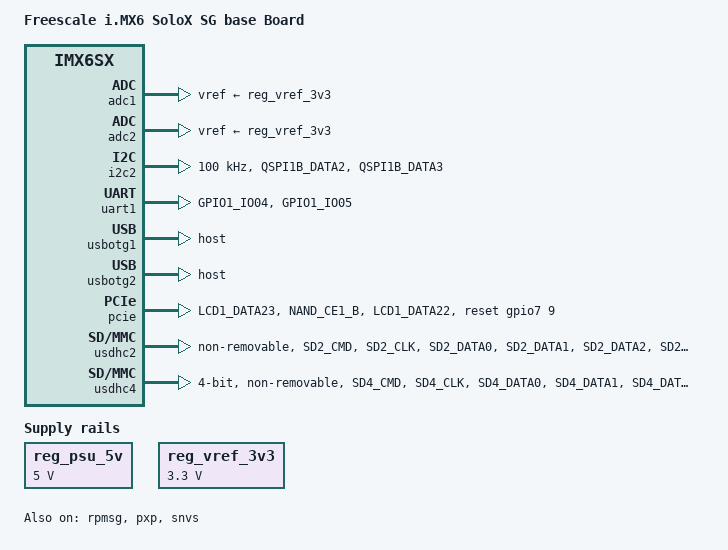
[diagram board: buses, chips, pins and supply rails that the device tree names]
/*
 * Copyright (C) 2014 Freescale Semiconductor, Inc.
 *
 * This program is free software; you can redistribute it and/or modify
 * it under the terms of the GNU General Public License version 2 as
 * published by the Free Software Foundation.
 */

/dts-v1/;

#include <dt-bindings/gpio/gpio.h>
#include <dt-bindings/input/input.h>
#include "imx6sx-better_FCT.dtsi"

/ {
	model = "Freescale i.MX6 SoloX SG base Board";
	compatible = "fsl,imx6sx-sg", "fsl,imx6sx";

	aliases
	{
    };

	chosen 
	{
		stdout-path = &uart1;
	};

	memory 
	{
		linux,usable-memory = <0x80000000 0x20000000>;
	};
	
	pxp_v4l2_out 
	{
		compatible = "fsl,imx6sx-pxp-v4l2", "fsl,imx6sl-pxp-v4l2";
		status = "okay";
	};

	regulators
	{
		compatible = "simple-bus";
		#address-cells = <1>;
		#size-cells = <0>;
/*
		reg_usb_otg1_vbus: usb_otg1_vbus
		{
			compatible = "regulator-fixed";
			reg = <1>;
			pinctrl-names = "default";
			pinctrl-0 = <&pinctrl_usb_otg1_vbus>;
			regulator-name = "usb_otg1_vbus";
			regulator-min-microvolt = <5000000>;
			regulator-max-microvolt = <5000000>;
			gpio = <&gpio4 18 GPIO_ACTIVE_HIGH>;
			enable-active-high;
		};
		reg_usb_otg2_vbus: usb_otg2_vbus 
		{
			compatible = "regulator-fixed";
			pinctrl-names = "default";
			pinctrl-0 = <&pinctrl_usb_otg2_vbus>;
			regulator-name = "usb_otg2_vbus";
			regulator-min-microvolt = <5000000>;
			regulator-max-microvolt = <5000000>;
			gpio = <&gpio4 22 GPIO_ACTIVE_HIGH>;
			enable-active-high;
		};
*/
		reg_psu_5v: regulator@3 
		{
			compatible = "regulator-fixed";
			reg = <3>;
			regulator-name = "PSU-5V0";
			regulator-min-microvolt = <5000000>;
			regulator-max-microvolt = <5000000>;
		};

		reg_vref_3v3: regulator@7 
		{
			compatible = "regulator-fixed";
			reg = <7>;
			regulator-name = "vref-3v3";
			regulator-min-microvolt = <3300000>;
			regulator-max-microvolt = <3300000>;
		};
	};
};

&adc1 
{
	vref-supply = <&reg_vref_3v3>;
	status = "okay";
};

&adc2 
{
	vref-supply = <&reg_vref_3v3>;
	status = "okay";
};

&i2c2
{
	clock-frequency = <100000>;
	pinctrl-names = "default";
	pinctrl-0 = <&pinctrl_i2c2>;
	status = "okay";

};

&gpmi
{
	status = "disabled"; 
};

&ocram
{
	reg = <0x00901000 0xf000>;
};

&rpmsg
{
	vdev-nums = <1>;
	reg = <0xbfff0000 0x10000>;
	status = "okay";
};

&clks
{
	fsl,shared-clks-number = <0x23>;//<0x1A>;
	fsl,shared-clks-index = <IMX6SX_CLK_PLL2_BUS IMX6SX_CLK_PLL2_PFD0
			IMX6SX_CLK_PLL2_PFD2 IMX6SX_CLK_PLL3_USB_OTG
			IMX6SX_CLK_PLL3_PFD1 IMX6SX_CLK_PLL3_PFD2
			IMX6SX_CLK_PLL3_PFD3 IMX6SX_CLK_PLL4_AUDIO
			IMX6SX_CLK_PLL5_VIDEO
			IMX6SX_CLK_OCRAM IMX6SX_CLK_CAN1_SERIAL
			IMX6SX_CLK_CAN1_IPG IMX6SX_CLK_CAN2_SERIAL
			IMX6SX_CLK_CAN2_IPG IMX6SX_CLK_CANFD
			IMX6SX_CLK_ECSPI1 IMX6SX_CLK_ECSPI2
			IMX6SX_CLK_ECSPI3 IMX6SX_CLK_ECSPI4
			IMX6SX_CLK_ECSPI5 IMX6SX_CLK_QSPI1
			IMX6SX_CLK_QSPI2 IMX6SX_CLK_SSI1
			IMX6SX_CLK_SSI2 IMX6SX_CLK_SSI3
			IMX6SX_CLK_UART_SERIAL IMX6SX_CLK_UART_IPG
			IMX6SX_CLK_PERIPH_CLK2_SEL IMX6SX_CLK_DUMMY
			IMX6SX_CLK_I2C1 IMX6SX_CLK_I2C2
			IMX6SX_CLK_I2C3 IMX6SX_CLK_I2C4
			IMX6SX_CLK_EPIT1 IMX6SX_CLK_EPIT2>;
	fsl,shared-mem-addr = <0x91F000>;
	fsl,shared-mem-size = <0x1000>;
};

&pxp 
{
	status = "okay";
};

&snvs
{
	status = "okay";
};

&uart1
{
	pinctrl-names = "default";
	pinctrl-0 = <&pinctrl_uart1>;
	status = "okay";
};

&usbotg1 
{
	pinctrl-names = "default";
	srp-disable;
	hnp-disable;
	adp-disable;
	dr_mode = "host";
	status = "okay";
};

&usbotg2
{
	pinctrl-names = "default";
	srp-disable;
	hnp-disable;
	adp-disable;
	dr_mode = "host";
	status = "okay";
};


&pcie 
{
	pinctrl-names = "default";
	pinctrl-0 = <&pinctrl_pcie>;

	reset-gpio = <&gpio7 9 0>;
	disable-gpio = <&gpio7 8 0>;

//	reset-gpio = <&gpio3 23 0>;
//	power-on-gpio = <&gpio3 24 0>;
//	disable-gpio = <&gpio4 2 0>;
	status = "okay";
};

&usdhc2 
{
	pinctrl-names = "default";
	pinctrl-0 = <&pinctrl_usdhc2>;
	non-removable;
	no-1-8-v;
	keep-power-in-suspend;
	enable-sdio-wakeup;
	status = "okay";
};

&usdhc4 
{
	pinctrl-names = "default";
	pinctrl-0 = <&pinctrl_usdhc4_1>;
	bus-width = <4>;
	non-removable;
	no-1-8-v;
	keep-power-in-suspend;
	enable-sdio-wakeup;
	status = "okay";
};

&iomuxc 
{
	pinctrl-names = "default";
	pinctrl-0 = <&pinctrl_hog_1>;
	imx6x-sg 
	{
		pinctrl_hog_1: hoggrp-1
		{
			fsl,pins =
			<
				MX6SX_PAD_USB_H_DATA__GPIO7_IO_10	0x83030
			>;
		};

		pinctrl_pcie: pciegrp
		{
			fsl,pins =
			<
				MX6SX_PAD_LCD1_DATA23__GPIO3_IO_24    0x10b0
				MX6SX_PAD_NAND_CE1_B__GPIO4_IO_2      0x10b0
				MX6SX_PAD_LCD1_DATA22__GPIO3_IO_23    0x10b0     
			>;
		};

		pinctrl_uart1: uart1grp 
		{
			fsl,pins = 
			<
				MX6SX_PAD_GPIO1_IO04__UART1_TX		0x1b0b1
				MX6SX_PAD_GPIO1_IO05__UART1_RX		0x1b0b1
			>;
		};

		pinctrl_usdhc2: usdhc2grp 
		{
			fsl,pins = 
			<
				MX6SX_PAD_SD2_CMD__USDHC2_CMD		0x17059
				MX6SX_PAD_SD2_CLK__USDHC2_CLK		0x170f9
				MX6SX_PAD_SD2_DATA0__USDHC2_DATA0	0x17059
				MX6SX_PAD_SD2_DATA1__USDHC2_DATA1	0x17059
				MX6SX_PAD_SD2_DATA2__USDHC2_DATA2	0x17059
				MX6SX_PAD_SD2_DATA3__USDHC2_DATA3	0x17059
			>;
		};

		pinctrl_usdhc4_1: usdhc4grp-1 
		{
			fsl,pins = 
			<
				MX6SX_PAD_SD4_CMD__USDHC4_CMD           0x170D1
				MX6SX_PAD_SD4_CLK__USDHC4_CLK           0x100f9
				MX6SX_PAD_SD4_DATA0__USDHC4_DATA0       0x170D1
				MX6SX_PAD_SD4_DATA1__USDHC4_DATA1       0x170D1
				MX6SX_PAD_SD4_DATA2__USDHC4_DATA2       0x170D1
				MX6SX_PAD_SD4_DATA3__USDHC4_DATA3       0x170D1
				MX6SX_PAD_SD4_DATA4__USDHC4_DATA4       0x170D1
				MX6SX_PAD_SD4_DATA5__USDHC4_DATA5       0x170D1
				MX6SX_PAD_SD4_DATA6__USDHC4_DATA6       0x170D1
				MX6SX_PAD_SD4_DATA7__USDHC4_DATA7       0x170D1
				MX6SX_PAD_SD4_RESET_B__USDHC4_RESET_B   0x170D1
			>;
		};

		pinctrl_i2c2: i2c2grp 
		{
			fsl,pins = 
			<
				MX6SX_PAD_QSPI1B_DATA2__I2C2_SDA    0x4001b8b1                          
				MX6SX_PAD_QSPI1B_DATA3__I2C2_SCL    0x4001b8b1
			>;
		};

		pinctrl_fct: pinctrlfctgrp 
		{
			fsl,pins = 
			<
				MX6SX_PAD_GPIO1_IO00__GPIO1_IO_0 	0x17059
				MX6SX_PAD_GPIO1_IO01__GPIO1_IO_1 	0x17059

				MX6SX_PAD_GPIO1_IO02__GPIO1_IO_2	0x17059

				MX6SX_PAD_GPIO1_IO06__GPIO1_IO_6	0x17059
				MX6SX_PAD_GPIO1_IO07__GPIO1_IO_7	0x17059
				MX6SX_PAD_GPIO1_IO08__GPIO1_IO_8	0x17059
				MX6SX_PAD_GPIO1_IO09__GPIO1_IO_9	0x17059
				
				MX6SX_PAD_GPIO1_IO10__GPIO1_IO_10	0x17059
				
				MX6SX_PAD_GPIO1_IO11__GPIO1_IO_11	0x17059

				MX6SX_PAD_GPIO1_IO12__GPIO1_IO_12	0x17059
				MX6SX_PAD_GPIO1_IO13__GPIO1_IO_13	0x17059
				
				MX6SX_PAD_ENET1_COL__GPIO2_IO_0     0x17059
				MX6SX_PAD_ENET1_CRS__GPIO2_IO_1     0x17059
				MX6SX_PAD_ENET1_MDC__GPIO2_IO_2     0x17059
				MX6SX_PAD_ENET1_MDIO__GPIO2_IO_3    0x17059
				MX6SX_PAD_ENET1_RX_CLK__GPIO2_IO_4  0x17059
				MX6SX_PAD_ENET1_TX_CLK__GPIO2_IO_5  0x17059
				MX6SX_PAD_ENET2_COL__GPIO2_IO_6     0x17059
				MX6SX_PAD_ENET2_CRS__GPIO2_IO_7     0x17059
				MX6SX_PAD_ENET2_RX_CLK__GPIO2_IO_8  0x17059
				MX6SX_PAD_ENET2_TX_CLK__GPIO2_IO_9  0x17059
				MX6SX_PAD_KEY_COL0__GPIO2_IO_10     0x17059
				MX6SX_PAD_KEY_COL1__GPIO2_IO_11     0x17059
				MX6SX_PAD_KEY_COL2__GPIO2_IO_12     0x17059
				MX6SX_PAD_KEY_COL3__GPIO2_IO_13     0x17059
				MX6SX_PAD_KEY_COL4__GPIO2_IO_14     0x17059
				MX6SX_PAD_KEY_ROW0__GPIO2_IO_15     0x17059
				MX6SX_PAD_KEY_ROW1__GPIO2_IO_16     0x17059
				MX6SX_PAD_KEY_ROW2__GPIO2_IO_17     0x17059
				MX6SX_PAD_KEY_ROW3__GPIO2_IO_18     0x17059
				MX6SX_PAD_KEY_ROW4__GPIO2_IO_19		0x17059

 				MX6SX_PAD_LCD1_CLK__GPIO3_IO_0      0x17059
				MX6SX_PAD_LCD1_DATA01__GPIO3_IO_2   0x17059
				MX6SX_PAD_LCD1_DATA02__GPIO3_IO_3  	0x17059
				MX6SX_PAD_LCD1_DATA03__GPIO3_IO_4  	0x17059
				MX6SX_PAD_LCD1_DATA04__GPIO3_IO_5  	0x17059
				MX6SX_PAD_LCD1_DATA05__GPIO3_IO_6  	0x17059
				MX6SX_PAD_LCD1_DATA06__GPIO3_IO_7  	0x17059
				MX6SX_PAD_LCD1_DATA07__GPIO3_IO_8  	0x17059
				MX6SX_PAD_LCD1_DATA08__GPIO3_IO_9  	0x17059
				MX6SX_PAD_LCD1_DATA09__GPIO3_IO_10 	0x17059
				MX6SX_PAD_LCD1_DATA10__GPIO3_IO_11 	0x17059
				MX6SX_PAD_LCD1_DATA11__GPIO3_IO_12 	0x17059
				MX6SX_PAD_LCD1_DATA12__GPIO3_IO_13 	0x17059
				MX6SX_PAD_LCD1_DATA13__GPIO3_IO_14 	0x17059
				MX6SX_PAD_LCD1_DATA14__GPIO3_IO_15 	0x17059
				MX6SX_PAD_LCD1_DATA15__GPIO3_IO_16 	0x17059
				MX6SX_PAD_LCD1_DATA16__GPIO3_IO_17 	0x17059
				MX6SX_PAD_LCD1_DATA17__GPIO3_IO_18 	0x17059
				MX6SX_PAD_LCD1_DATA18__GPIO3_IO_19 	0x17059
				MX6SX_PAD_LCD1_DATA19__GPIO3_IO_20 	0x17059
				MX6SX_PAD_LCD1_DATA20__GPIO3_IO_21 	0x17059
				MX6SX_PAD_LCD1_DATA21__GPIO3_IO_22 	0x17059
				MX6SX_PAD_LCD1_DATA22__GPIO3_IO_23 	0x17059
				MX6SX_PAD_LCD1_DATA23__GPIO3_IO_24 	0x17059
				MX6SX_PAD_LCD1_ENABLE__GPIO3_IO_25 	0x17059
				MX6SX_PAD_LCD1_HSYNC__GPIO3_IO_26  	0x17059
				MX6SX_PAD_LCD1_RESET__GPIO3_IO_27  	0x17059
				MX6SX_PAD_LCD1_VSYNC__GPIO3_IO_28  	0x17059
    
				MX6SX_PAD_NAND_CE1_B__GPIO4_IO_2    0x17059   
				MX6SX_PAD_QSPI1A_DATA0__GPIO4_IO_16 0x17059
				MX6SX_PAD_QSPI1A_DATA1__GPIO4_IO_17 0x17059
				MX6SX_PAD_QSPI1A_DATA2__GPIO4_IO_18 0x17059
				MX6SX_PAD_QSPI1A_DATA3__GPIO4_IO_19 0x17059
				MX6SX_PAD_QSPI1A_DQS__GPIO4_IO_20   0x17059
				MX6SX_PAD_QSPI1A_SCLK__GPIO4_IO_21  0x17059
				MX6SX_PAD_QSPI1A_SS0_B__GPIO4_IO_22 0x17059
				MX6SX_PAD_QSPI1A_SS1_B__GPIO4_IO_23 0x17059
				MX6SX_PAD_QSPI1B_DATA0__GPIO4_IO_24 0x17059
				MX6SX_PAD_QSPI1B_DATA1__GPIO4_IO_25 0x17059
				MX6SX_PAD_QSPI1B_DATA2__GPIO4_IO_26 0x17059
				MX6SX_PAD_QSPI1B_DATA3__GPIO4_IO_27 0x17059
				MX6SX_PAD_QSPI1B_DQS__GPIO4_IO_28   0x17059
				MX6SX_PAD_QSPI1B_SCLK__GPIO4_IO_29  0x17059
				MX6SX_PAD_QSPI1B_SS0_B__GPIO4_IO_30 0x17059
				MX6SX_PAD_QSPI1B_SS1_B__GPIO4_IO_31 0x17059

				MX6SX_PAD_RGMII1_RD0__GPIO5_IO_0     0x17059 	
				MX6SX_PAD_RGMII1_RD1__GPIO5_IO_1     0x17059 
				MX6SX_PAD_RGMII1_RD2__GPIO5_IO_2     0x17059 
				MX6SX_PAD_RGMII1_RD3__GPIO5_IO_3     0x17059 
				MX6SX_PAD_RGMII1_RX_CTL__GPIO5_IO_4  0x17059 
				MX6SX_PAD_RGMII1_RXC__GPIO5_IO_5     0x17059 
				MX6SX_PAD_RGMII1_TD0__GPIO5_IO_6     0x17059 
				MX6SX_PAD_RGMII1_TD1__GPIO5_IO_7     0x17059 
				MX6SX_PAD_RGMII1_TD2__GPIO5_IO_8     0x17059 
				MX6SX_PAD_RGMII1_TD3__GPIO5_IO_9     0x17059
				MX6SX_PAD_RGMII1_TX_CTL__GPIO5_IO_10 0x17059
				MX6SX_PAD_RGMII1_TXC__GPIO5_IO_11    0x17059
				MX6SX_PAD_RGMII2_RD0__GPIO5_IO_12    0x17059
				MX6SX_PAD_RGMII2_RD1__GPIO5_IO_13    0x17059
				MX6SX_PAD_RGMII2_RD2__GPIO5_IO_14    0x17059
				MX6SX_PAD_RGMII2_RD3__GPIO5_IO_15    0x17059
				MX6SX_PAD_RGMII2_RX_CTL__GPIO5_IO_16 0x17059
				MX6SX_PAD_RGMII2_RXC__GPIO5_IO_17    0x17059
				MX6SX_PAD_RGMII2_TD0__GPIO5_IO_18    0x17059
				MX6SX_PAD_RGMII2_TD1__GPIO5_IO_19    0x17059
				MX6SX_PAD_RGMII2_TD2__GPIO5_IO_20    0x17059
				MX6SX_PAD_RGMII2_TD3__GPIO5_IO_21    0x17059
				MX6SX_PAD_RGMII2_TX_CTL__GPIO5_IO_22 0x17059
				MX6SX_PAD_RGMII2_TXC__GPIO5_IO_23    0x17059
    
				MX6SX_PAD_SD2_CLK__GPIO6_IO_6        0x17059	
				MX6SX_PAD_SD2_CMD__GPIO6_IO_7        0x17059
				MX6SX_PAD_SD2_DATA0__GPIO6_IO_8      0x17059
				MX6SX_PAD_SD2_DATA1__GPIO6_IO_9      0x17059
				MX6SX_PAD_SD2_DATA2__GPIO6_IO_10     0x17059
				MX6SX_PAD_SD2_DATA3__GPIO6_IO_11     0x17059
				MX6SX_PAD_SD4_CLK__GPIO6_IO_12       0x17059
				MX6SX_PAD_SD4_CMD__GPIO6_IO_13       0x17059
				MX6SX_PAD_SD4_DATA0__GPIO6_IO_14     0x17059
				MX6SX_PAD_SD4_DATA1__GPIO6_IO_15     0x17059
				MX6SX_PAD_SD4_DATA2__GPIO6_IO_16     0x17059
				MX6SX_PAD_SD4_DATA3__GPIO6_IO_17     0x17059
				MX6SX_PAD_SD4_DATA4__GPIO6_IO_18     0x17059
				MX6SX_PAD_SD4_DATA5__GPIO6_IO_19     0x17059
				MX6SX_PAD_SD4_DATA6__GPIO6_IO_20     0x17059
				MX6SX_PAD_SD4_DATA7__GPIO6_IO_21     0x17059

				MX6SX_PAD_SD3_CLK__GPIO7_IO_0        0x17059
				MX6SX_PAD_SD3_CMD__GPIO7_IO_1        0x17059
				MX6SX_PAD_SD3_DATA0__GPIO7_IO_2      0x17059
				MX6SX_PAD_SD3_DATA1__GPIO7_IO_3      0x17059
				MX6SX_PAD_SD3_DATA2__GPIO7_IO_4      0x17059
				MX6SX_PAD_SD3_DATA3__GPIO7_IO_5      0x17059
				MX6SX_PAD_SD3_DATA4__GPIO7_IO_6      0x17059
				MX6SX_PAD_SD3_DATA5__GPIO7_IO_7      0x17059
				MX6SX_PAD_SD3_DATA6__GPIO7_IO_8      0x17059
				MX6SX_PAD_SD3_DATA7__GPIO7_IO_9      0x17059
			>;
		};
	};
};
